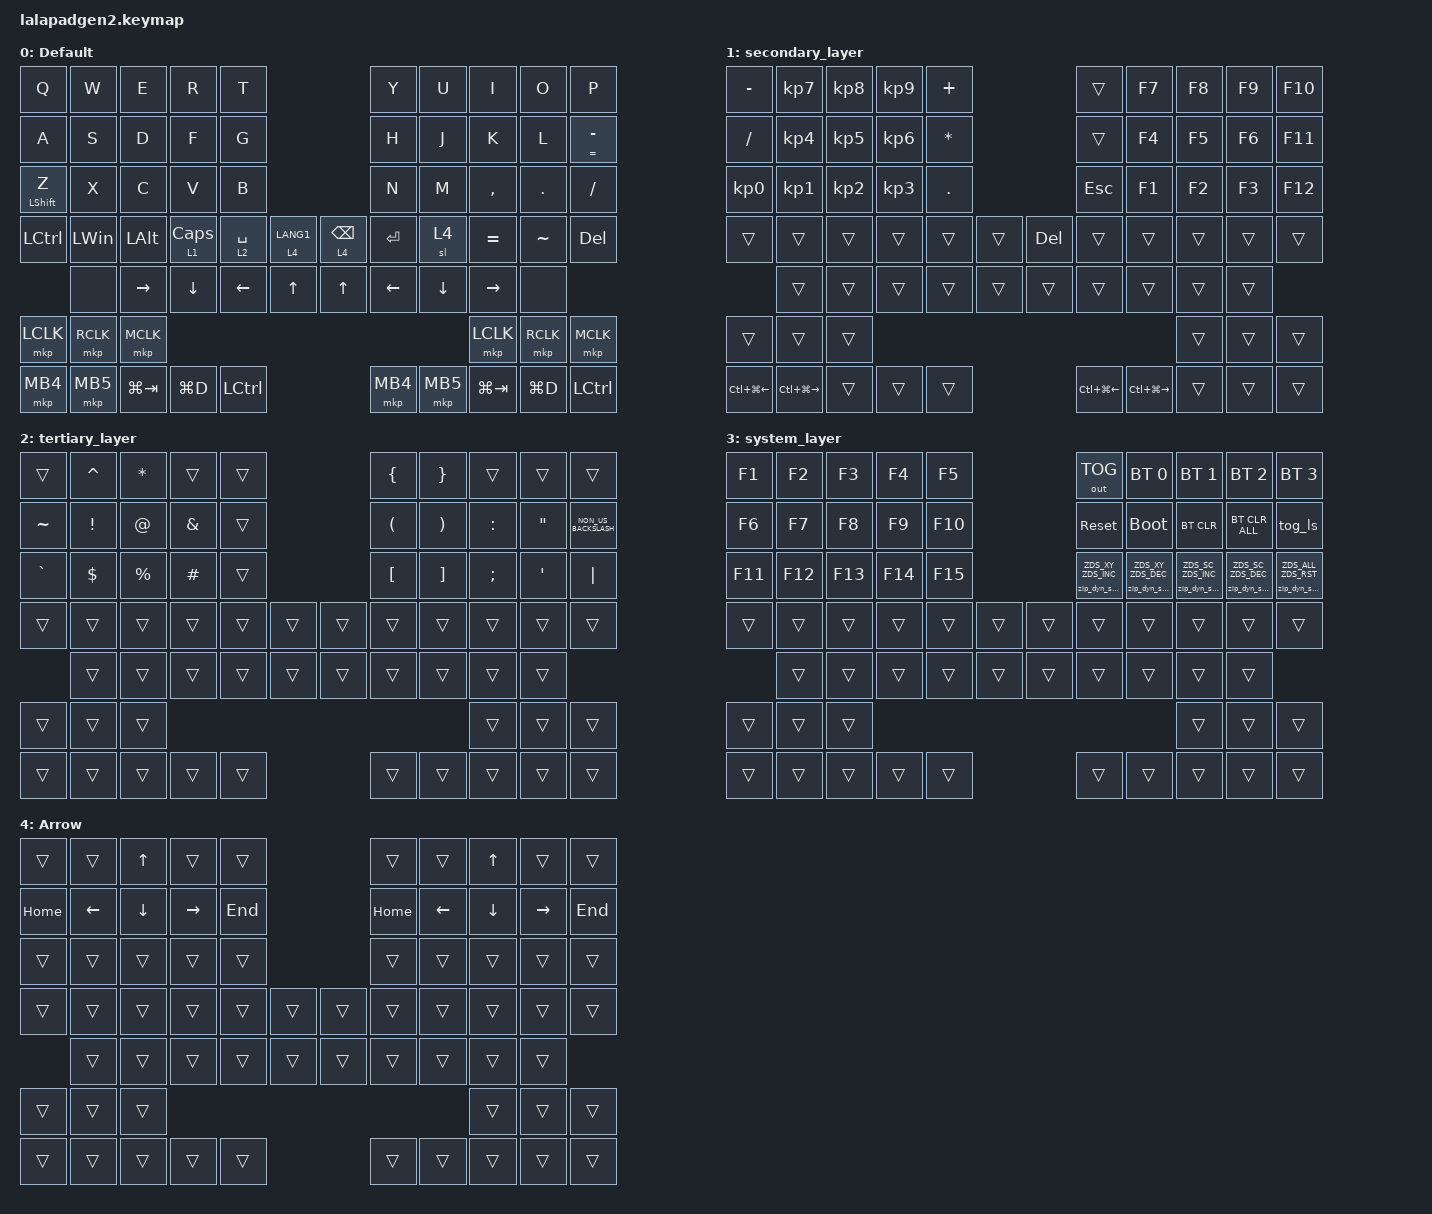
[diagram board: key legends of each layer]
#include <input/processors.dtsi>
#include <dt-bindings/zmk/zip_dynamic_scale.h>
#include <layout_shift.dtsi>
#include <behaviors.dtsi>
#include <dt-bindings/zmk/bt.h>
#include <dt-bindings/zmk/keys.h>
#include <dt-bindings/zmk/outputs.h>
#include <dt-bindings/zmk/pointing.h>

#define DEFAULT_LAYER   0
#define SECONDARY_LAYER 1
#define TERTIARY_LAYER  2
#define SYSTEM_LAYER    3

&mt { quick-tap-ms = <200>; };

&lt { quick-tap-ms = <200>; };

/ {
    behaviors {
        zip_dyn_scale: zip_dyn_scale {
            compatible = "zmk,behavior-zip-dynamic-scale";
            #binding-cells = <2>;
        };

        zip_dyn_scale_set: zip_dyn_scale_set {
            compatible = "zmk,behavior-zip-dynamic-scale-set";
            #binding-cells = <2>;
        };

        mt2: mod_tap2 {
            compatible = "zmk,behavior-hold-tap";
            #binding-cells = <2>;
            flavor = "tap-preferred";
            tapping-term-ms = <200>;
            quick-tap-ms = <200>;
            require-prior-idle-ms = <125>;
            bindings = <&kp>, <&kp>;
        };

        tap_dance_layer_1and2: tap_dance_layer_1and2 {
            compatible = "zmk,behavior-tap-dance";
            label = "td_mo12";
            #binding-cells = <0>;
            bindings = <&mo 1>, <&mo 2>;
        };

        // --- layout-shift: &kp を JIS 対応版で上書き ---
        // keymap editor は #include の順序を勝手に並べ替えるため、
        // layout_shift_kp_override.dtsi を include する方式だと behaviors.dtsi より
        // 前に置かれて上書きが無効化される（= JIS変換が効かなくなる）。
        // これを避けるため、上書き定義を本文の behaviors に直接置く
        // （本文は常に全 include より後ろ＝確実に有効）。kot149/zmk-layout-shift 公式の回避策。

        original_key_press: original_key_press {
            compatible = "zmk,behavior-key-press";
            #binding-cells = <1>;
            label = "KEY_PRESS";
        };

        kp: key_press {
            compatible = "zmk,behavior-layout-shift-key-press";
            #binding-cells = <1>;
            label = "LAYOUT_SHIFT_KEY_PRESS";
        };
    };

    combos {
        compatible = "zmk,combos";

        CONBO_ESC {
            bindings = <&kp ESCAPE>;
            key-positions = <1 2>;
        };

        COMBO_TAB {
            bindings = <&kp TAB>;
            key-positions = <11 12>;
        };

        Capsshift {
            bindings = <&kp LS(CAPS)>;
            key-positions = <10 20>;
        };

        Caps {
            bindings = <&kp CAPSLOCK>;
            key-positions = <10 11>;
        };
    };

    keymap {
        compatible = "zmk,keymap";

        DEFAULT_LAYER {
            display-name = "Default";
            bindings = <
&kp Q              &kp W      &kp E         &kp R           &kp T                                       &kp Y           &kp U     &kp I        &kp O       &kp P
&kp A              &kp S      &kp D         &kp F           &kp G                                       &kp H           &kp J     &kp K        &kp L       &mt2 EQUAL MINUS
&mt2 LEFT_SHIFT Z  &kp X      &kp C         &kp V           &kp B                                       &kp N           &kp M     &kp COMMA    &kp PERIOD  &kp SLASH
&kp LCTRL          &kp LWIN   &kp LEFT_ALT  &lt 1 CAPSLOCK  &lt 2 SPACE  &lt 4 LANG1   &lt 4 BACKSPACE  &kp ENTER       &sl 4     &kp EQUAL    &kp TILDE   &kp DEL
                   &none      &kp RIGHT     &kp DOWN        &kp LEFT     &kp UP_ARROW  &kp UP_ARROW     &kp LEFT_ARROW  &kp DOWN  &kp RIGHT    &none
&mkp LCLK          &mkp RCLK  &mkp MCLK                                                                                           &mkp LCLK    &mkp RCLK   &mkp MCLK
&mkp MB4           &mkp MB5   &kp LG(TAB)   &kp LG(D)       &kp LCTRL                                   &mkp MB4        &mkp MB5  &kp LG(TAB)  &kp LG(D)   &kp LCTRL
            >;
        };

        NUM_LAYER {
            display-name = "secondary_layer";
            bindings = <
&kp MINUS         &kp KP_NUMBER_7    &kp KP_NUMBER_8  &kp KP_NUMBER_9  &kp PLUS                       &trans            &kp F7             &kp F8  &kp F9  &kp F10
&kp SLASH         &kp KP_NUMBER_4    &kp KP_NUMBER_5  &kp KP_NUMBER_6  &kp ASTERISK                   &trans            &kp F4             &kp F5  &kp F6  &kp F11
&kp KP_NUMBER_0   &kp KP_NUMBER_1    &kp KP_NUMBER_2  &kp KP_NUMBER_3  &kp PERIOD                     &kp ESCAPE        &kp F1             &kp F2  &kp F3  &kp F12
&trans            &trans             &trans           &trans           &trans        &trans  &kp DEL  &trans            &trans             &trans  &trans  &trans
                  &trans             &trans           &trans           &trans        &trans  &trans   &trans            &trans             &trans  &trans
&trans            &trans             &trans                                                                                                &trans  &trans  &trans
&kp LC(LG(LEFT))  &kp LC(LG(RIGHT))  &trans           &trans           &trans                         &kp LC(LG(LEFT))  &kp LC(LG(RIGHT))  &trans  &trans  &trans
            >;
        };

        TERTIARY_LAYER {
            display-name = "tertiary_layer";
            bindings = <
&trans     &kp CARET   &kp ASTRK    &trans         &trans                  &kp LEFT_BRACE        &kp RIGHT_BRACE        &trans         &trans             &trans
&kp TILDE  &kp EXCL    &kp AT       &kp AMPERSAND  &trans                  &kp LEFT_PARENTHESIS  &kp RIGHT_PARENTHESIS  &kp COLON      &kp DOUBLE_QUOTES  &kp NON_US_BACKSLASH
&kp GRAVE  &kp DOLLAR  &kp PERCENT  &kp HASH       &trans                  &kp LEFT_BRACKET      &kp RIGHT_BRACKET      &kp SEMICOLON  &kp SQT            &kp PIPE
&trans     &trans      &trans       &trans         &trans  &trans  &trans  &trans                &trans                 &trans         &trans             &trans
           &trans      &trans       &trans         &trans  &trans  &trans  &trans                &trans                 &trans         &trans
&trans     &trans      &trans                                                                                           &trans         &trans             &trans
&trans     &trans      &trans       &trans         &trans                  &trans                &trans                 &trans         &trans             &trans
            >;
        };

        SYSTEM_LAYER {
            display-name = "system_layer";
            bindings = <
&kp F1   &kp F2   &kp F3   &kp F4   &kp F5                   &out OUT_TOG                   &bt BT_SEL 0                   &bt BT_SEL 1                   &bt BT_SEL 2                   &bt BT_SEL 3
&kp F6   &kp F7   &kp F8   &kp F9   &kp F10                  &sys_reset                     &bootloader                    &bt BT_CLR                     &bt BT_CLR_ALL                 &tog_ls
&kp F11  &kp F12  &kp F13  &kp F14  &kp F15                  &zip_dyn_scale ZDS_XY ZDS_INC  &zip_dyn_scale ZDS_XY ZDS_DEC  &zip_dyn_scale ZDS_SC ZDS_INC  &zip_dyn_scale ZDS_SC ZDS_DEC  &zip_dyn_scale ZDS_ALL ZDS_RST
&trans   &trans   &trans   &trans   &trans   &trans  &trans  &trans                         &trans                         &trans                         &trans                         &trans
         &trans   &trans   &trans   &trans   &trans  &trans  &trans                         &trans                         &trans                         &trans
&trans   &trans   &trans                                                                                                   &trans                         &trans                         &trans
&trans   &trans   &trans   &trans   &trans                   &trans                         &trans                         &trans                         &trans                         &trans
            >;
        };

        Arrow {
            bindings = <
&trans    &trans          &kp UP_ARROW  &trans     &trans                   &trans    &trans    &kp UP_ARROW    &trans     &trans
&kp HOME  &kp LEFT_ARROW  &kp DOWN      &kp RIGHT  &kp END                  &kp HOME  &kp LEFT  &kp DOWN_ARROW  &kp RIGHT  &kp END
&trans    &trans          &trans        &trans     &trans                   &trans    &trans    &trans          &trans     &trans
&trans    &trans          &trans        &trans     &trans   &trans  &trans  &trans    &trans    &trans          &trans     &trans
          &trans          &trans        &trans     &trans   &trans  &trans  &trans    &trans    &trans          &trans
&trans    &trans          &trans                                                                &trans          &trans     &trans
&trans    &trans          &trans        &trans     &trans                   &trans    &trans    &trans          &trans     &trans
            >;
        };
    };

    conditional_layers {
        compatible = "zmk,conditional-layers";

        Cond_Syslayer {
            if-layers = <1 2>;
            then-layer = <3>;
        };
    };
};
